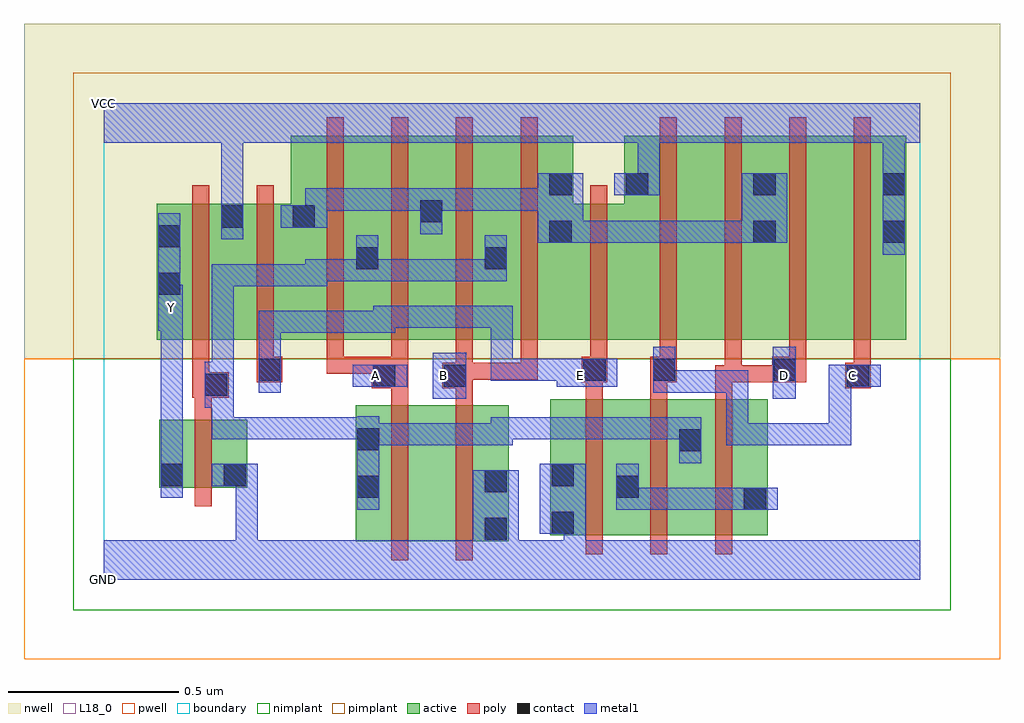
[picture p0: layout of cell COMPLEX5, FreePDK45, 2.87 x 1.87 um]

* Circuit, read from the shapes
.subckt COMPLEX5 A B C D E GND VCC Y
M1 GND n1 Y VSUBS nfet w=0.2u l=0.05u
M2 n2 A n1 VSUBS nfet w=0.4u l=0.05u
M3 GND B n2 VSUBS nfet w=0.4u l=0.05u
M4 n3 E GND VSUBS nfet w=0.4u l=0.05u
M5 n1 C n3 VSUBS nfet w=0.4u l=0.05u
M6 n3 D n1 VSUBS nfet w=0.4u l=0.05u
M7 VCC n1 Y n4 pfet w=0.4u l=0.05u
M8 n5 E VCC n4 pfet w=0.4u l=0.05u m=2
M9 n1 A n5 n4 pfet w=0.6u l=0.05u m=2
M10 n1 B n5 n4 pfet w=0.6u l=0.05u m=2
M11 n6 C VCC n4 pfet w=0.6u l=0.05u
M12 n5 D n6 n4 pfet w=0.6u l=0.05u
M13 n7 D n5 n4 pfet w=0.6u l=0.05u
M14 VCC C n7 n4 pfet w=0.6u l=0.05u
.ends

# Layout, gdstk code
import gdstk
lib = gdstk.Library(unit=1e-6, precision=1e-09)
def R(c, l, rs):  # rectangles x0, y0, x1, y1
    for r in rs: c.add(gdstk.rectangle(r[:2], r[2:], *l))
def A(c, l, x, y, w, h, nx, ny, dx, dy):  # array of equal rectangles
    R(c, l, [(x+i*dx, y+j*dy, x+i*dx+w, y+j*dy+h) for i in range(nx) for j in range(ny)])
active = (1, 0)
pwell = (2, 0)
nwell = (3, 0)
nimplant = (4, 0)
pimplant = (5, 0)
poly = (9, 0)
contact = (10, 0)
metal1 = (11, 0)
L18_0 = (18, 0)
boundary = (235, 0)

complex5 = lib.new_cell('COMPLEX5')
R(complex5, active, [(0.74,0.112,0.965,0.512), (0.965,0.112,1.19,0.512), (1.115,0.112,1.19,0.377), (1.312,0.13,1.577,0.53), (1.312,0.13,1.387,0.53), (1.502,0.13,1.762,0.53), (1.687,0.13,1.952,0.53), (0.74,0.195,0.845,0.512), (1.502,0.195,1.577,0.492), (1.687,0.195,1.762,0.492), (1.877,0.195,1.952,0.53), (0.162,0.27,0.237,0.47), (0.162,0.27,0.422,0.47), (0.347,0.27,0.422,0.47), (0.155,0.705,0.415,1.105), (0.155,0.705,0.23,1.105), (0.34,0.705,0.415,1.105), (0.34,0.705,0.625,1.105), (0.55,0.705,0.812,1.305), (0.737,0.705,1,1.305), (0.925,0.705,1.19,1.305), (1.115,0.705,1.38,1.305), (1.305,0.705,1.38,1.2), (1.305,0.705,1.605,1.105), (1.53,0.705,1.755,1.305), (1.755,0.705,1.98,1.305), (1.905,0.705,2.135,1.305), (1.905,0.705,1.98,1.2), (2.135,0.705,2.36,1.305), (2.285,0.705,2.36,1.305), (0.737,0.707,0.812,1.07), (0.925,0.707,1,1.2), (1.115,0.707,1.19,1.07), (1.53,0.822,1.605,1.2), (0.55,0.907,0.625,1.2)])
R(complex5, pwell, [(-0.235,-0.235,2.635,0.65)])
R(complex5, nwell, [(-0.235,0.65,2.635,1.635)])
R(complex5, nimplant, [(-0.09,-0.09,2.49,0.65)])
R(complex5, pimplant, [(-0.09,0.65,2.49,1.49)])
A(complex5, poly, 1.417, 0.075, 0.05, 0.51, 3, 1, 0.19, 0)
A(complex5, poly, 1.417, 0.535, 0.05, 0.095, 3, 1, 0.19, 0)
A(complex5, poly, 0.655, 0.65, 0.05, 0.71, 4, 1, 0.19, 0)
A(complex5, poly, 1.635, 0.65, 0.05, 0.71, 4, 1, 0.19, 0)
R(complex5, poly, [(0.845,0.057,0.895,0.567), (1.035,0.057,1.085,0.567), (0.267,0.215,0.317,0.525), (0.267,0.475,0.317,0.585), (0.845,0.517,0.895,0.612), (1.035,0.517,1.085,0.612), (0.26,0.535,0.367,0.61), (0.26,0.56,0.31,0.7), (0.787,0.562,0.895,0.655), (0.995,0.562,1.085,0.637), (2.18,0.562,2.255,0.637), (0.45,0.58,0.525,0.655), (1.405,0.58,1.48,0.655), (1.607,0.58,1.685,0.655), (1.797,0.58,1.875,0.63), (1.825,0.58,2.015,0.63), (1.825,0.58,1.875,0.7), (1.965,0.58,2.015,0.63), (1.965,0.58,2.015,0.63), (1.965,0.58,2.065,0.655), (1.035,0.587,1.085,0.7), (1.035,0.587,1.275,0.637), (1.225,0.587,1.275,0.7), (1.225,0.587,1.275,0.637), (1.225,0.587,1.275,0.637), (1.225,0.587,1.275,0.637), (2.205,0.587,2.255,0.7), (0.45,0.605,0.5,0.7), (0.655,0.605,0.705,0.7), (0.655,0.605,0.705,0.655), (0.655,0.605,0.705,0.655), (0.655,0.605,0.705,0.655), (0.655,0.605,0.837,0.655), (0.845,0.605,0.895,0.7), (1.43,0.605,1.48,0.7), (1.635,0.605,1.685,0.7), (2.015,0.605,2.065,0.7), (0.26,0.65,0.31,1.16), (0.45,0.65,0.5,1.16), (1.43,0.65,1.48,1.16)])
R(complex5, contact, [(1.12,0.117,1.185,0.182), (1.317,0.135,1.382,0.2), (1.882,0.205,1.947,0.27), (0.745,0.24,0.81,0.305), (1.507,0.24,1.572,0.305), (1.12,0.257,1.185,0.322), (0.167,0.275,0.232,0.34), (0.352,0.275,0.417,0.34), (1.317,0.275,1.382,0.34), (1.692,0.377,1.757,0.442), (0.745,0.38,0.81,0.445), (0.297,0.54,0.362,0.605), (0.792,0.567,0.857,0.632), (1,0.567,1.065,0.632), (2.185,0.567,2.25,0.632), (0.455,0.585,0.52,0.65), (1.41,0.585,1.475,0.65), (1.615,0.585,1.68,0.65), (1.97,0.585,2.035,0.65), (0.16,0.837,0.225,0.902), (0.742,0.912,0.807,0.977), (1.12,0.912,1.185,0.977), (0.16,0.977,0.225,1.042), (1.31,0.99,1.375,1.055), (1.91,0.99,1.975,1.055), (2.29,0.99,2.355,1.055), (0.345,1.035,0.41,1.1), (0.555,1.035,0.62,1.1), (0.93,1.05,0.995,1.115), (1.31,1.13,1.375,1.195), (1.535,1.13,1.6,1.195), (1.91,1.13,1.975,1.195), (2.29,1.13,2.355,1.195)])
R(complex5, metal1, [(0,0,2.4,0.115), (0.387,0.05,0.452,0.115), (0.387,0.05,0.452,0.115), (0.387,0.05,0.452,0.115), (0.387,0.05,0.452,0.115), (0.387,0.05,0.452,0.34), (1.155,0.05,1.22,0.182), (1.352,0.05,1.417,0.2), (1.085,0.117,1.22,0.322), (1.282,0.135,1.417,0.34), (0.745,0.205,0.81,0.48), (1.507,0.205,1.572,0.27), (1.507,0.205,1.572,0.27), (1.507,0.205,1.572,0.34), (1.507,0.205,1.757,0.27), (1.692,0.205,1.757,0.27), (1.692,0.205,1.895,0.27), (1.83,0.205,1.895,0.27), (1.83,0.205,1.912,0.27), (1.847,0.205,1.982,0.27), (0.167,0.24,0.232,0.375), (0.317,0.275,0.452,0.34), (0.167,0.31,0.232,0.797), (1.692,0.342,1.757,0.477), (0.745,0.395,0.81,0.46), (0.745,0.395,0.81,0.46), (0.745,0.395,1.012,0.46), (0.947,0.395,1.012,0.46), (0.947,0.395,1.012,0.46), (0.947,0.395,1.012,0.46), (0.947,0.395,1.202,0.46), (1.137,0.395,1.202,0.477), (1.83,0.395,1.895,0.46), (1.83,0.395,2.032,0.46), (1.83,0.395,1.895,0.615), (1.967,0.395,2.032,0.46), (1.967,0.395,2.197,0.46), (2.132,0.395,2.197,0.46), (2.132,0.395,2.197,0.632), (0.317,0.412,0.382,0.477), (0.317,0.412,0.52,0.477), (0.317,0.412,0.382,0.64), (0.455,0.412,0.52,0.477), (0.455,0.412,0.52,0.477), (0.455,0.412,0.52,0.477), (0.455,0.412,0.657,0.477), (0.592,0.412,0.657,0.477), (0.592,0.412,0.81,0.477), (1.137,0.412,1.202,0.477), (1.137,0.412,1.202,0.477), (1.137,0.412,1.41,0.477), (1.345,0.412,1.41,0.477), (1.345,0.412,1.41,0.477), (1.345,0.412,1.41,0.477), (1.345,0.412,1.62,0.477), (1.555,0.412,1.62,0.477), (1.555,0.412,1.757,0.477), (1.692,0.412,1.757,0.477), (1.692,0.412,1.757,0.477), (0.297,0.505,0.362,0.64), (0.967,0.532,1.065,0.667), (1.967,0.532,2.035,0.685), (0.455,0.55,0.52,0.685), (1.615,0.55,1.757,0.615), (1.615,0.55,1.68,0.685), (1.692,0.55,1.757,0.615), (1.692,0.55,1.895,0.615), (1.83,0.55,1.895,0.615), (1.83,0.55,1.895,0.615), (1.83,0.55,1.895,0.615), (0.732,0.567,0.892,0.632), (1.332,0.567,1.51,0.65), (2.132,0.567,2.197,0.632), (2.132,0.567,2.197,0.632), (2.132,0.567,2.285,0.632), (0.297,0.575,0.382,0.64), (0.317,0.575,0.382,0.64), (0.317,0.575,0.382,0.64), (0.317,0.575,0.382,0.64), (0.317,0.575,0.382,0.927), (1.137,0.585,1.202,0.65), (1.137,0.585,1.202,0.65), (1.137,0.585,1.202,0.65), (1.137,0.585,1.202,0.805), (1.137,0.585,1.397,0.65), (1.332,0.585,1.397,0.65), (1.332,0.585,1.397,0.65), (0.455,0.62,0.52,0.685), (0.455,0.62,0.52,0.685), (0.455,0.62,0.52,0.79), (0.455,0.725,0.52,0.79), (0.455,0.725,0.657,0.79), (0.592,0.725,0.657,0.79), (0.592,0.725,0.857,0.79), (0.792,0.725,0.857,0.79), (0.792,0.725,0.857,0.79), (0.792,0.725,0.857,0.805), (0.16,0.732,0.232,0.867), (0.792,0.74,0.995,0.805), (0.93,0.74,0.995,0.805), (0.93,0.74,0.995,0.805), (0.93,0.74,0.995,0.805), (0.93,0.74,1.202,0.805), (1.137,0.74,1.202,0.805), (0.16,0.802,0.225,1.077), (0.16,0.802,0.225,0.867), (0.317,0.862,0.382,0.927), (0.317,0.862,0.52,0.927), (0.455,0.862,0.52,0.927), (0.455,0.862,0.52,0.927), (0.455,0.862,0.52,0.927), (0.455,0.862,0.657,0.927), (0.592,0.862,0.657,0.942), (0.592,0.877,0.807,0.942), (0.742,0.877,0.807,0.942), (0.742,0.877,0.807,0.942), (0.742,0.877,0.807,1.012), (0.742,0.877,1.012,0.942), (0.947,0.877,1.012,0.942), (0.947,0.877,1.012,0.942), (0.947,0.877,1.012,0.942), (0.947,0.877,1.185,0.942), (1.12,0.877,1.185,1.012), (2.29,0.955,2.355,1.23), (1.275,0.99,1.41,1.195), (1.345,0.99,1.41,1.055), (1.345,0.99,1.41,1.055), (1.345,0.99,1.41,1.055), (1.345,0.99,1.41,1.055), (1.345,0.99,1.41,1.055), (1.345,0.99,1.41,1.055), (1.345,0.99,1.547,1.055), (1.482,0.99,1.547,1.055), (1.482,0.99,1.757,1.055), (1.692,0.99,1.757,1.055), (1.692,0.99,1.757,1.055), (1.692,0.99,1.757,1.055), (1.692,0.99,1.895,1.055), (1.83,0.99,1.895,1.055), (1.83,0.99,1.94,1.055), (1.875,0.99,2.01,1.195), (0.345,1,0.41,1.135), (0.93,1.015,0.995,1.15), (0.52,1.035,0.655,1.1), (0.59,1.035,0.657,1.1), (0.592,1.035,0.657,1.15), (0.345,1.07,0.41,1.35), (0.592,1.085,0.857,1.15), (0.792,1.085,0.857,1.15), (0.792,1.085,0.857,1.15), (0.792,1.085,0.857,1.15), (0.792,1.085,0.995,1.15), (0.93,1.085,0.995,1.15), (0.93,1.085,0.995,1.15), (0.93,1.085,1.202,1.15), (1.137,1.085,1.202,1.15), (1.137,1.085,1.202,1.15), (1.137,1.085,1.202,1.15), (1.137,1.085,1.34,1.15), (1.5,1.13,1.635,1.195), (1.57,1.13,1.635,1.35), (2.29,1.165,2.355,1.35), (0,1.285,2.4,1.4), (0.345,1.285,0.41,1.35), (0.345,1.285,0.41,1.35)])
R(complex5, L18_0, [(0,0,2.4,0.115), (0.387,0.05,0.452,0.115), (0.387,0.05,0.452,0.115), (0.387,0.05,0.452,0.115), (0.387,0.05,0.452,0.115), (0.387,0.05,0.452,0.34), (1.155,0.05,1.22,0.182), (1.352,0.05,1.417,0.2), (1.085,0.117,1.22,0.322), (1.282,0.135,1.417,0.34), (0.167,0.24,0.232,0.375), (0.317,0.275,0.452,0.34), (0.167,0.31,0.232,0.797), (1.83,0.395,1.895,0.46), (1.83,0.395,2.032,0.46), (1.83,0.395,1.895,0.615), (1.967,0.395,2.032,0.46), (1.967,0.395,2.197,0.46), (2.132,0.395,2.197,0.46), (2.132,0.395,2.197,0.632), (0.967,0.532,1.065,0.667), (1.967,0.532,2.035,0.685), (0.455,0.55,0.52,0.685), (1.615,0.55,1.68,0.685), (1.615,0.55,1.757,0.615), (1.692,0.55,1.757,0.615), (1.692,0.55,1.895,0.615), (1.83,0.55,1.895,0.615), (1.83,0.55,1.895,0.615), (1.83,0.55,1.895,0.615), (0.732,0.567,0.892,0.632), (0.767,0.567,0.832,0.632), (0.967,0.567,1.032,0.632), (1.332,0.567,1.51,0.65), (1.367,0.567,1.432,0.632), (1.967,0.567,2.032,0.632), (2.132,0.567,2.197,0.632), (2.132,0.567,2.197,0.632), (2.132,0.567,2.285,0.632), (2.167,0.567,2.232,0.632), (1.137,0.585,1.202,0.65), (1.137,0.585,1.202,0.65), (1.137,0.585,1.202,0.65), (1.137,0.585,1.202,0.805), (1.137,0.585,1.397,0.65), (1.332,0.585,1.397,0.65), (1.332,0.585,1.397,0.65), (0.455,0.62,0.52,0.685), (0.455,0.62,0.52,0.685), (0.455,0.62,0.52,0.79), (0.455,0.725,0.52,0.79), (0.455,0.725,0.657,0.79), (0.592,0.725,0.657,0.79), (0.592,0.725,0.857,0.79), (0.792,0.725,0.857,0.79), (0.792,0.725,0.857,0.79), (0.792,0.725,0.857,0.805), (0.16,0.732,0.232,0.867), (0.792,0.74,0.995,0.805), (0.93,0.74,0.995,0.805), (0.93,0.74,0.995,0.805), (0.93,0.74,0.995,0.805), (0.93,0.74,1.202,0.805), (1.137,0.74,1.202,0.805), (0.167,0.767,0.232,0.832), (0.16,0.802,0.225,1.077), (0.16,0.802,0.225,0.867), (2.29,0.955,2.355,1.23), (0.345,1,0.41,1.135), (0.345,1.07,0.41,1.35), (1.5,1.13,1.635,1.195), (1.57,1.13,1.635,1.35), (2.29,1.165,2.355,1.35), (0,1.285,2.4,1.4), (0.345,1.285,0.41,1.35), (0.345,1.285,0.41,1.35)])
R(complex5, boundary, [(0,0,2.4,1.4)])
complex5.add(gdstk.Label('A', (0.8,0.6), layer=11, texttype=0))
complex5.add(gdstk.Label('B', (1,0.6), layer=11, texttype=0))
complex5.add(gdstk.Label('C', (2.2,0.6), layer=11, texttype=0))
complex5.add(gdstk.Label('D', (2,0.6), layer=11, texttype=0))
complex5.add(gdstk.Label('E', (1.4,0.6), layer=11, texttype=0))
complex5.add(gdstk.Label('Y', (0.2,0.8), layer=11, texttype=0))
complex5.add(gdstk.Label('VCC', (0,1.4), layer=11, texttype=0))
complex5.add(gdstk.Label('GND', (0,0), layer=11, texttype=0))

lib.write_gds('COMPLEX5.gds')
